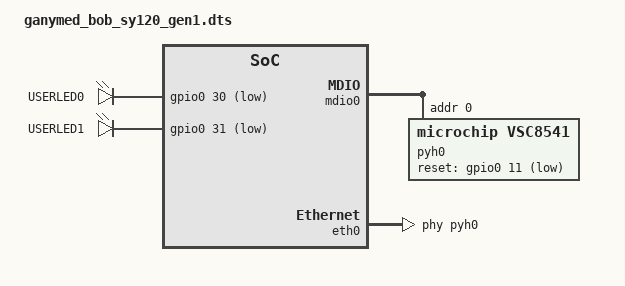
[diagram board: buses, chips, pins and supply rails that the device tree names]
/* Copyright (c) 2024 sensry.io */
/* SPDX-License-Identifier: Apache-2.0 */

/dts-v1/;

#include <zephyr/dt-bindings/gpio/gpio.h>

#include <sensry/ganymed-sy1xx.dtsi>
#include "ganymed_bob_sy120-pinctrl.dtsi"

/ {
	aliases {
		led0 = &led_0;
		led1 = &led_1;
	};

	chosen {
		zephyr,code-partition = &l2_ram_text;
		zephyr,sram = &l2_ram_data;
		zephyr,shell-uart = &uart0;
		zephyr,console = &uart0;
	};

	leds {
		compatible = "gpio-leds";

		led_0: led_0 {
			gpios = <&gpio0 30 GPIO_ACTIVE_LOW>;
			label = "USERLED0";
		};

		led_1: led_1 {
			gpios = <&gpio0 31 GPIO_ACTIVE_LOW>;
			label = "USERLED1";
		};
	};
};

&mdio0 {
	status = "okay";

	pinctrl-0 = <&mdio_clk &mdio_io>;
	pinctrl-names = "default";

	pyh0: phy@0 {
		compatible = "microchip,vsc8541";
		reg = <0x0>;
		status = "okay";

		reset-gpios = <&gpio0 11 GPIO_ACTIVE_LOW>;

		microchip,interface-type = "rgmii";
	};
};

&eth0 {
	status = "okay";
	zephyr,random-mac-address;
	phy-handle = <&pyh0>;
};
